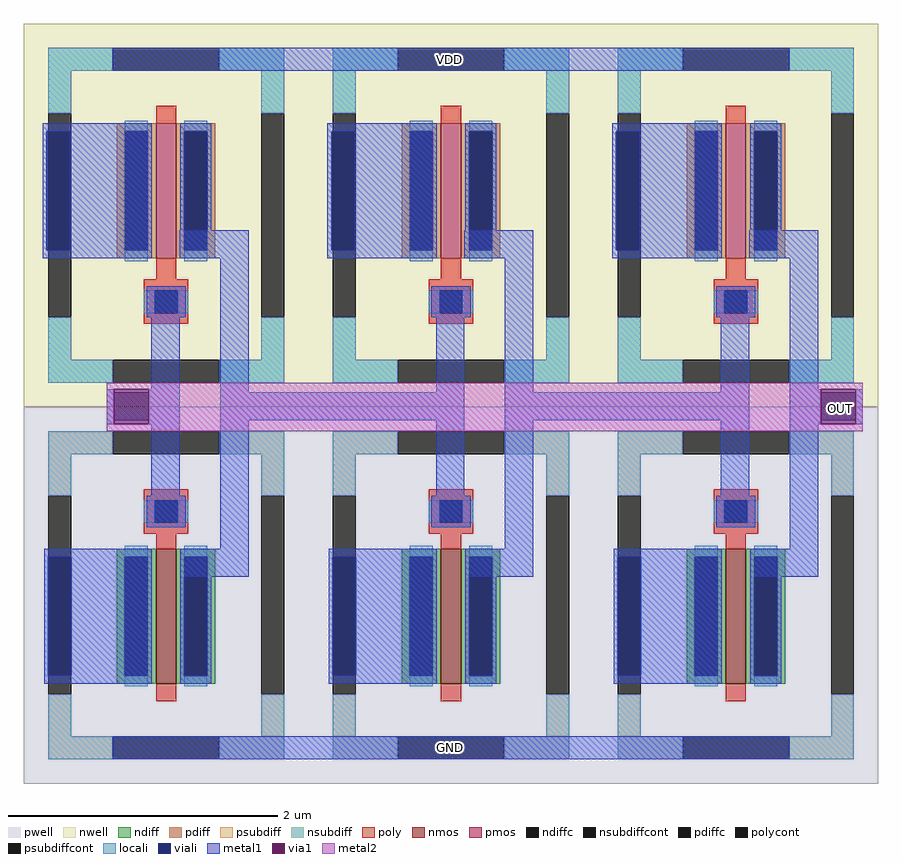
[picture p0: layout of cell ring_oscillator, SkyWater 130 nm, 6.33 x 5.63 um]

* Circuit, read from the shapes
.subckt ring_oscillator VDD GND OUT
XM1 x2/IN OUT GND GND sky130_fd_pr__nfet_01v8 w=1 l=0.15
XM2 x3/IN x2/IN GND GND sky130_fd_pr__nfet_01v8 w=1 l=0.15
XM3 OUT x3/IN GND GND sky130_fd_pr__nfet_01v8 w=1 l=0.15
XM4 x2/IN OUT VDD VDD sky130_fd_pr__pfet_01v8 w=1 l=0.15
XM5 x3/IN x2/IN VDD VDD sky130_fd_pr__pfet_01v8 w=1 l=0.15
XM6 OUT x3/IN VDD VDD sky130_fd_pr__pfet_01v8 w=1 l=0.15
.ends

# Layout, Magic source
magic
tech sky130A
magscale 1 2
<< metal1 >>
rect 134 1056 1136 1090
rect 125 532 135 584
rect 187 532 197 584
rect 390 538 567 580
rect 811 538 988 580
rect 1173 532 1183 584
rect 1235 532 1245 584
rect 134 36 1136 70
<< via1 >>
rect 135 532 187 584
rect 1183 532 1235 584
<< metal2 >>
rect 125 584 1245 594
rect 125 532 135 584
rect 187 532 1183 584
rect 1235 532 1245 584
rect 125 522 1245 532
use inverter  x1
transform 1 0 55 0 1 53
box -53 -53 369 1073
use inverter  x2
transform 1 0 477 0 1 53
box -53 -53 369 1073
use inverter  x3
transform 1 0 899 0 1 53
box -53 -53 369 1073
<< labels >>
flabel metal1 633 1073 633 1073 0 FreeSans 160 0 0 0 VDD
port 0 nsew
flabel metal1 634 53 634 53 0 FreeSans 160 0 0 0 GND
port 1 nsew
flabel via1 1212 556 1212 556 0 FreeSans 160 0 0 0 OUT
port 2 nsew
<< end >>

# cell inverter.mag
magic
tech sky130A
magscale 1 2
<< viali >>
rect -19 737 15 913
rect -17 107 17 283
<< metal1 >>
rect -25 913 135 925
rect -25 737 -19 913
rect 15 737 135 913
rect -25 725 135 737
rect 178 725 280 767
rect 136 527 178 684
rect 76 485 178 527
rect 136 328 178 485
rect 238 527 280 725
rect 238 485 340 527
rect 238 295 280 485
rect -23 283 137 295
rect -23 107 -17 283
rect 17 107 137 283
rect 179 253 280 295
rect -23 95 137 107
use sky130_fd_pr__nfet_01v8_64Z3AY  XM1
transform 1 0 158 0 1 226
box -211 -279 211 279
use sky130_fd_pr__pfet_01v8_LGS3BL  XM2
transform 1 0 158 0 1 789
box -211 -284 211 284
<< labels >>
flabel viali -2 789 -2 789 0 FreeSans 160 0 0 0 VDD
port 0 nsew
flabel viali 1 196 1 196 0 FreeSans 160 0 0 0 GND
port 1 nsew
flabel metal1 107 505 107 505 0 FreeSans 160 0 0 0 IN
port 2 nsew
flabel metal1 302 505 302 505 0 FreeSans 160 0 0 0 OUT
port 3 nsew
<< end >>

# cell sky130_fd_pr__nfet_01v8_64Z3AY: kit device sky130_fd_pr__nfet_01v8, w 1.0 l 0.15 m 1 nf 1 diffcov 100 polycov 100 guard 1 glc 1 grc 1 gtc 1 gbc 1 tbcov 100 rlcov 100 topc 1 botc 0 poverlap 0 doverlap 1 lmin 0.15 wmin 0.42 compatible {sky130_fd_pr__nfet_01v8 sky130_fd_pr__nfet_01v8_lvt sky130_fd_bs_flash__special_sonosfet_star sky130_fd_pr__nfet_g5v0d10v5 sky130_fd_pr__nfet_05v0_nvt sky130_fd_pr__nfet_03v3_nvt} full_metal 1 viasrc 100 viadrn 100 viagate 100 viagb 0 viagr 0 viagl 0 viagt 0

# cell sky130_fd_pr__pfet_01v8_LGS3BL: kit device sky130_fd_pr__pfet_01v8, w 1.0 l 0.15 m 1 nf 1 diffcov 100 polycov 100 guard 1 glc 1 grc 1 gtc 1 gbc 1 tbcov 100 rlcov 100 topc 0 botc 1 poverlap 0 doverlap 1 lmin 0.15 wmin 0.42 compatible {sky130_fd_pr__pfet_01v8 sky130_fd_pr__pfet_01v8_lvt sky130_fd_pr__pfet_01v8_hvt sky130_fd_pr__pfet_g5v0d10v5} full_metal 1 viasrc 100 viadrn 100 viagate 100 viagb 0 viagr 0 viagl 0 viagt 0
